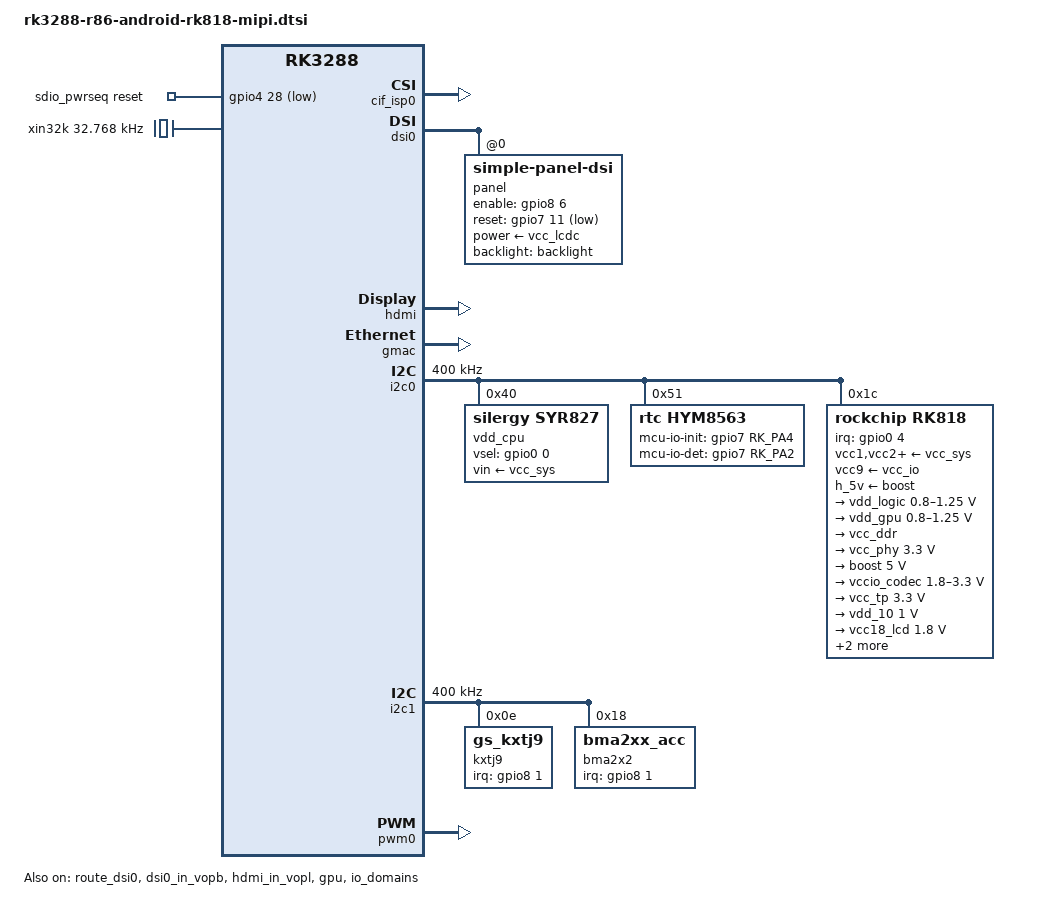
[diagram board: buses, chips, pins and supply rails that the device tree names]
/*
 * Copyright (c) 2018 Fuzhou Rockchip Electronics Co., Ltd
 *
 * SPDX-License-Identifier: (GPL-2.0+ OR MIT)
 */

/dts-v1/;
#include "rk3288-evb-r86.dtsi"
#include "rk3288-android.dtsi"
#include <dt-bindings/sensor-dev.h>

/ {
	/*panel {
		compatible = "simple-panel";
		backlight = <&backlight>;
		enable-gpios = <&gpio7 RK_PA4 GPIO_ACTIVE_HIGH>;
		prepare-delay-ms = <120>;

		display-timings {
			native-mode = <&timing0>;

			timing0: timing0 {
				clock-frequency = <200000000>;
				hactive = <1536>;
				vactive = <2048>;
				hfront-porch = <12>;
				hsync-len = <16>;
				hback-porch = <48>;
				vfront-porch = <8>;
				vsync-len = <4>;
				vback-porch = <8>;
				hsync-active = <0>;
				vsync-active = <0>;
				de-active = <0>;
				pixelclk-active = <0>;
			};
		};

		port {
			panel_in_edp: endpoint {
				remote-endpoint = <&edp_out_panel>;
			};
		};
	};*/

	sdio_pwrseq: sdio-pwrseq {
		compatible = "mmc-pwrseq-simple";
		clocks = <&rk818 1>;
		clock-names = "ext_clock";
		pinctrl-names = "default";
		pinctrl-0 = <&wifi_enable_h>;

		/*
		 * On the module itself this is one of these (depending
		 * on the actual card populated):
		 * - SDIO_RESET_L_WL_REG_ON
		 * - PDN (power down when low)
		 */
		reset-gpios = <&gpio4 28 GPIO_ACTIVE_LOW>;
	};

	test-power {
		status = "okay";
	};

	wireless-bluetooth {
		clocks = <&rk818 1>;
		clock-names = "ext_clock";
	};

	/delete-node/ sdmmc-regulator;

	/*vdd_log: vdd-logic {
		compatible = "pwm-regulator";
		rockchip,pwm_id = <1>;
		rockchip,pwm_voltage = <1100000>;
		pwms = <&pwm1 0 25000 1>;
		regulator-name = "vcc_log";
		regulator-min-microvolt = <860000>;
		regulator-max-microvolt = <1360000>;
		regulator-always-on;
		regulator-boot-on;
	};*/

	xin32k: xin32k {
		compatible = "fixed-clock";
		clock-frequency = <32768>;
		clock-output-names = "xin32k";
		#clock-cells = <0>;
	};
	
	/*vcc_lcd: vcc-lcd-regulator {
		compatible = "regulator-fixed";
		regulator-boot-on;
		//regulator-always-on;//rocky
		enable-active-high;
		gpio = <&gpio7 3 GPIO_ACTIVE_HIGH>;
		pinctrl-names = "default";
		pinctrl-0 = <&lcd_en>;
		regulator-name = "vcc_lcd";
		//vin-supply = <&vcc_io>;
	};*/
	
};

&backlight {
	pwms = <&pwm0 0 50000 0>;
	//enable-gpios = <&gpio7 9 GPIO_ACTIVE_HIGH>;
	//pinctrl-names = "default";
	//pinctrl-0 = <&bl_en>;
};

&cpu0 {
	cpu-supply = <&vdd_cpu>;
};

&cif_isp0 {
	status = "okay";
};

/*&dfi {
	status = "okay";
};

&dmc {
	center-supply = <&vdd_log>;
	status = "okay";
};*/

/*
*** TV104C9T-LH0  by rocky******
*/
&dsi0 {
	status = "okay";
	//rockchip,lane-rate = <1024>;

	panel@0 {
		compatible = "simple-panel-dsi";
		reg = <0>;
		backlight = <&backlight>;
		enable-gpios = <&gpio8 6 GPIO_ACTIVE_HIGH>;
		reset-gpios = <&gpio7 11 GPIO_ACTIVE_LOW>;
		pinctrl-names = "default";
		pinctrl-0 = <&lcd_en2>,<&lcd_rst>;
		//power-supply = <&vcc_lcd>;
		//power-supply = <&vcc_lcd_1v8>;
		power-supply = <&vcc_lcdc>;
		dsi,flags = <(MIPI_DSI_MODE_VIDEO | MIPI_DSI_MODE_VIDEO_BURST | MIPI_DSI_MODE_LPM | MIPI_DSI_MODE_EOT_PACKET)>;
		dsi,format = <MIPI_DSI_FMT_RGB888>;
		//bus-format = <MEDIA_BUS_FMT_RBG888_1X24>;
		dsi,lanes = <4>;
		reset-delay-ms = <60>;
		init-delay-ms = <60>;
		enable-delay-ms = <60>;
		prepare-delay-ms = <60>;
		unprepare-delay-ms = <60>;
		disable-delay-ms = <60>;
		status = "okay";
		
	panel-init-sequence = [
			39 00 04 B9 83 10 2E
			15 00 02 E9 CD
			15 00 02 BB 01
			15 00 02 E9 00
			39 00 05 D1 67 2C FF 05
			39 00 04 BE 11 96 89
			39 00 04 D9 3F 03 04
			39 00 12 B1 10 FA AF AF 2B 2B A2 43 57 36 36 36 36 22 21 15 00
			39 00 11 B2 00 B0 47 D0 00 2C 2C 2C 00 00 00 00 15 20 D7 00
			39 00 11 B4 80 60 01 01 80 60 68 50 01 8E 01 58 00 FF 00 FF
			39 00 04 BF FC 85 80
			39 00 03 D2 2B 2B
			39 00 2C D3 00 00 00 00 01 04 00 08 08 27 27 22 2F 23 23 04 04 32 10 21 00 21 32 10 1F 00 02 32 17 FD 00 10 00 00 20 30 01 55 21 38 01 55 0F
			39 00 2F E0 00 06 10 18 20 39 51 59 61 5F 79 7F 86 95 92 98 A0 B3 B1 57 5F 6A 70 00 06 11 19 20 39 51 59 5F 5B 73 79 7C 89 86 8C 94 A5 A3 51 59 64 76
			15 00 02 BD 01
			39 00 05 B1 01 9B 01 31
			39 00 0B CB F4 36 12 16 C0 28 6C 85 3F 04
			39 00 0C D3 01 00 FC 00 00 11 10 00 0E 00 01
			15 00 02 BD 02
			39 00 07 B4 4E 00 33 11 33 88
			39 00 04 BF F2 00 02
			15 00 02 BD 00
			39 00 0F C0 23 23 22 11 A2 17 00 80 00 00 08 00 63 63
			15 00 02 C6 F9
			15 00 02 C7 30
			39 00 07 C8 00 04 04 00 00 82
			39 00 04 D0 07 04 05
			39 00 2D D5 03 02 01 00 07 06 05 04 18 18 24 24 19 19 18 18 19 19 21 20 23 22 18 18 18 18 18 18 18 18 18 18 18 18 18 18 18 18 18 18 18 18 18 18
			39 00 2D D6 04 05 06 07 00 01 02 03 18 18 24 24 19 19 19 19 18 18 22 23 20 21 18 18 18 18 18 18 18 18 18 18 18 18 18 18 18 18 18 18 18 18 18 18
			39 00 18 E7 12 13 02 02 47 00 0F 0F 00 1E 25 73 1E 73 01 27 00 00 00 00 17 00 68
			15 00 02 BD 01
			39 00 08 E7 02 34 01 88 0E BE 0F
			15 00 02 BD 02
			39 00 1D E7 FF 01 FD 01 00 00 22 00 00 00 00 00 00 00 00 00 00 00 00 00 00 00 00 00 81 01 02 40
			15 00 02 BD 00
			15 00 02 BD 02
			39 00 0D D8 FF FF FF FF FF F0 FF FF FF FF FF F0
			15 00 02 BD 03
			15 00 02 B2 80
			15 00 02 BD 00
			15 00 02 CC 02
			39 00 03 E1 01 00
			05 64 01 11
			05 14 01 29
		];
					
	panel-exit-sequence = [
			05 64 01 28
			05 10 01 10
		];
			
	disp_timings: display-timings {
		native-mode = <&timing0>;

		timing0: timing0 {
			clock-frequency = <153600000>;//153600000//153000000
			hactive = <1200>;
			vactive = <2000>;
			
			hsync-len = <1>;//8
			hback-porch = <16>;//28
			hfront-porch = <46>;//40

			vsync-len = <1>;//1//6
			vback-porch = <45>;//38//40
			vfront-porch = <88>;//150//140
			
			hsync-active = <0>;
			vsync-active = <0>;
			de-active = <0>;
			pixelclk-active = <0>;

			};
		};	    
	};              
};  

&route_dsi0 {
	status = "okay";
    connect = <&vopb_out_dsi0>;
};       
&dsi0_in_vopl {
    status = "disabled";
};       
   
&dsi0_in_vopb {
    status = "okay";
};

&hdmi {
	status = "okay";
};

&hdmi_in_vopl {
	status = "okay";
};

&hdmi_in_vopb {
	status = "disabled";
};

&route_hdmi {
	status = "disabled";
	connect = <&vopl_out_hdmi>;
};

/*&edp {
	force-hpd;
	status = "okay";

	ports {
		port@1 {
			reg = <1>;

			edp_out_panel: endpoint {
				remote-endpoint = <&panel_in_edp>;
			};
		};
	};
};*/

&edp_in_vopb {
	status = "disabled";
};

&edp_in_vopl {
	status = "disabled";
};

&route_edp {
	connect = <&vopl_out_edp>;
	status = "disabled";
};

&gpu {
	status = "okay";
	mali-supply = <&vdd_gpu>;
};

&gmac {
	max-speed = <1000>;
	status = "okay";
};

&hdmi_analog_sound {
	status = "disabled";
};

&es8316_sound {
	status = "disabled";
};

&sound {
	status = "okay";
};

&i2c0 {
	clock-frequency = <400000>;

	vdd_cpu: syr827@40 {
		compatible = "silergy,syr827";
		reg = <0x40>;
		vin-supply = <&vcc_sys>;
		regulator-compatible = "fan53555-reg";
		pinctrl-0 = <&vsel1_gpio>;
		vsel-gpios = <&gpio0 0 GPIO_ACTIVE_HIGH>;
		regulator-name = "vdd_cpu";
		regulator-min-microvolt = <712500>;
		regulator-max-microvolt = <1500000>;
		regulator-ramp-delay = <1000>;
		fcs,suspend-voltage-selector = <1>;
		regulator-always-on;
		regulator-boot-on;
		regulator-initial-state = <3>;
		regulator-state-mem {
			regulator-off-in-suspend;
		};
	};
	
	hym8563: hym8563@51 {
		compatible = "rtc,hym8563";
		reg = <0x51>;		
		#clock-cells = <0>;
		//irq_gpio = <&gpio7 13 IRQ_TYPE_EDGE_FALLING>;
		mcu-io-init = <&gpio7 RK_PA4 GPIO_ACTIVE_HIGH>;	
		mcu-io-det = <&gpio7 RK_PA2 GPIO_ACTIVE_HIGH>;
		status = "okay";		
	};
	
	rk818: pmic@1c {
		compatible = "rockchip,rk818";
		status = "okay";
		reg = <0x1c>;
		clock-output-names = "rk818-clkout1", "wifibt_32kin";
		interrupt-parent = <&gpio0>;
		interrupts = <4 IRQ_TYPE_LEVEL_LOW>;
		pinctrl-names = "default";
		pinctrl-0 = <&pmic_int>;
		rockchip,system-power-controller;		
		wakeup-source;		
		//extcon = <&u2phy0>;
		#clock-cells = <1>;

		vcc1-supply = <&vcc_sys>;
		vcc2-supply = <&vcc_sys>;
		vcc3-supply = <&vcc_sys>;
		vcc4-supply = <&vcc_sys>;
		vcc6-supply = <&vcc_sys>;
		vcc7-supply = <&vcc_sys>;
		vcc8-supply = <&vcc_sys>;
		vcc9-supply = <&vcc_io>;
		boost-supply = <&vcc_sys>;
		h_5v-supply = <&boost>;

		regulators {
			vdd_logic: DCDC_REG1 {
				regulator-name = "vdd_logic";
				regulator-always-on;
				regulator-boot-on;
				regulator-min-microvolt = <800000>;
				regulator-max-microvolt = <1250000>;
				regulator-ramp-delay = <6001>;
				regulator-state-mem {
					regulator-on-in-suspend;
					regulator-suspend-microvolt = <1000000>;
				};
			};

			vdd_gpu: DCDC_REG2 {
				regulator-name = "vdd_gpu";
				regulator-always-on;
				regulator-boot-on;
				regulator-min-microvolt = <800000>;
				regulator-max-microvolt = <1250000>;
				regulator-ramp-delay = <6001>;
				regulator-state-mem {
					regulator-off-in-suspend;
				};
			};

			vcc_ddr: DCDC_REG3 {
				regulator-name = "vcc_ddr";
				regulator-always-on;
				regulator-boot-on;
				regulator-state-mem {
					regulator-on-in-suspend;
				};
			};

			vcc_phy:vcc_io: DCDC_REG4 {
				regulator-name = "vcc_io";
				regulator-always-on;
				regulator-boot-on;
				regulator-min-microvolt = <3300000>;
				regulator-max-microvolt = <3300000>;
				regulator-state-mem {
					regulator-on-in-suspend;
					regulator-suspend-microvolt = <3300000>;
				};
			};
			
			boost: DCDC_BOOST {
				regulator-always-on;
				regulator-boot-on;
				regulator-min-microvolt = <5000000>;
				regulator-max-microvolt = <5000000>;
				regulator-name = "boost";
				regulator-state-mem {
					regulator-on-in-suspend;
				};
			};
			
			vccio_codec: LDO_REG1 {
				regulator-always-on;
				regulator-boot-on;
				regulator-min-microvolt = <1800000>;
				regulator-max-microvolt = <3300000>;
				regulator-name = "vccio_codec";
				regulator-state-mem {
					regulator-on-in-suspend;
					regulator-suspend-microvolt = <3300000>;
				};
			};

			vcc_tp: LDO_REG2 {
				regulator-always-on;
				regulator-boot-on;
				regulator-min-microvolt = <3300000>;
				regulator-max-microvolt = <3300000>;
				regulator-name = "vcc_tp";
				regulator-state-mem {
					regulator-off-in-suspend;
				};
			};

			vdd_10: LDO_REG3 {
				regulator-always-on;
				regulator-boot-on;
				regulator-min-microvolt = <1000000>;
				regulator-max-microvolt = <1000000>;
				regulator-name = "vdd_10";
				regulator-state-mem {
					regulator-on-in-suspend;
					regulator-suspend-microvolt = <1000000>;
				};
			};

			vcc18_lcd: LDO_REG4 {
				regulator-always-on;
				regulator-boot-on;
				regulator-min-microvolt = <1800000>;
				regulator-max-microvolt = <1800000>;
				regulator-name = "vcc18_lcd";
				regulator-state-mem {
					regulator-off-in-suspend;
				};
			};

			vccio_pmu: LDO_REG5 {
				regulator-always-on;
				regulator-boot-on;
				regulator-min-microvolt = <3300000>;
				regulator-max-microvolt = <3300000>;
				regulator-name = "vccio_pmu";
				regulator-state-mem {
					regulator-on-in-suspend;
					regulator-suspend-microvolt = <3300000>;
				};
			};

			vdd10_lcd: LDO_REG6 {
				regulator-always-on;
				regulator-boot-on;
				regulator-min-microvolt = <1000000>;
				regulator-max-microvolt = <1000000>;
				regulator-name = "vdd10_lcd";
				regulator-state-mem {
					regulator-off-in-suspend;
				};
			};

			vcc_18: LDO_REG7 {
				regulator-always-on;
				regulator-boot-on;
				regulator-min-microvolt = <1800000>;
				regulator-max-microvolt = <1800000>;
				regulator-name = "vcc_18";
				regulator-state-mem {
					regulator-on-in-suspend;
					regulator-suspend-microvolt = <1800000>;
				};
			};

			vcc_lcdc: LDO_REG8 {
				/*regulator-always-on;
				regulator-boot-on;*/
				regulator-min-microvolt = <3300000>;
				regulator-max-microvolt = <3300000>;
				regulator-name = "vcc_lcdc";
				regulator-state-mem {
					//regulator-on-in-suspend;
					//regulator-suspend-microvolt = <3300000>;
					regulator-off-in-suspend;
				};
			};

			vccio_sd: LDO_REG9 {
				regulator-always-on;
				regulator-boot-on;
				regulator-min-microvolt = <1800000>;
				regulator-max-microvolt = <3300000>;
				regulator-name = "vccio_sd";
				regulator-state-mem {
					regulator-on-in-suspend;
					regulator-suspend-microvolt = <3300000>;
				};
			};

			/*vcc_emp: SWITCH_REG {
				regulator-always-on;
				regulator-boot-on;
				regulator-name = "vcc_emp";
				regulator-state-mem {
					regulator-on-in-suspend;
				};
			};*/
			
			vcc_sd: SWITCH_REG {
				//regulator-always-on;
				//regulator-boot-on;
				regulator-min-microvolt = <3300000>;
				regulator-max-microvolt = <3300000>;
				regulator-name = "vcc_sd";
				regulator-state-mem {
					regulator-off-in-suspend;
				};
			};

			h_5v: HDMI_SWITCH {
				regulator-always-on;
				regulator-boot-on;
				regulator-name = "h_5v";
				regulator-state-mem {
					regulator-on-in-suspend;
				};
			};
		};
	};

};

&i2c1 {
	status = "okay";
	clock-frequency = <400000>;

	mpu6050_acc: mpu-acc@68 {
		status = "disabled";
		compatible = "mpu6500_acc";
		pinctrl-names = "default";
		pinctrl-0 = <&mpu6050_irq_gpio>;
		reg = <0x68>;
		irq-gpio = <&gpio8 0 IRQ_TYPE_EDGE_RISING>;
		irq_enable = <0>;
		poll_delay_ms = <30>;
		type = <SENSOR_TYPE_ACCEL>;
		layout = <8>;
	};

	mpu6050_gyro: mpu-gyro@68 {
		status = "disabled";
		compatible = "mpu6500_gyro";
		reg = <0x68>;
		irq_enable = <0>;
		poll_delay_ms = <30>;
		type = <SENSOR_TYPE_GYROSCOPE>;
		layout = <8>;
	};

	ak8963_compass: ak8963-compass@0d {
		status = "disabled";
		compatible = "ak8963";
		pinctrl-names = "default";
		pinctrl-0 = <&ak8963_irq_gpio>;
		reg = <0x0d>;
		type = <SENSOR_TYPE_COMPASS>;
		irq-gpio = <&gpio8 1 IRQ_TYPE_EDGE_RISING>;
		irq_enable = <0>;
		poll_delay_ms = <30>;
		layout = <1>;
	};
	
	kxtj9: kxtj9@0e {
        status = "okay";
        compatible = "gs_kxtj9";
        // pinctrl-names = "default";
        // pinctrl-0 = <&kxtj2_irq_gpio>;
        reg = <0x0e>;
        irq-gpio = <&gpio8 1 IRQ_TYPE_LEVEL_LOW>;
        type = <SENSOR_TYPE_ACCEL>;
        irq_enable = <0>;
        poll_delay_ms = <20>;
        // power-off-in-suspend = <1>;
        layout = <5>;
    };
	
	bma2x2: bma250@18 {
		status = "okay";
		compatible = "bma2xx_acc";
		reg = <0x18>;
		type = <SENSOR_TYPE_ACCEL>;
		irq-gpio = <&gpio8 1 IRQ_TYPE_LEVEL_LOW>;              /* GSENSOR_INT = GPIO8_A1 */
		irq_enable = <0>;
		poll_delay_ms = <30>;
		layout = <5>;  
    };

};

&io_domains {
	status = "okay";
	audio-supply = <&vccio_codec>;//vcc_io//vccio_codec
	bb-supply = <&vcc_io>;
	dvp-supply = <&vcc_18>;//vcc_io//ldo output
	flash0-supply = <&vcc_18>;//ldo output
	flash1-supply = <&vcc_io>;
	gpio30-supply = <&vcc_io>;
	gpio1830 = <&vcc_io>;
	lcdc-supply = <&vcc_io>;//vcc18_lcd//vcc_io
	sdcard-supply = <&vccio_sd>;
	wifi-supply = <&vcc_18>;
};

&rockchip_suspend {
	status = "okay";
	rockchip,pwm-regulator-config = <
	(0
	| PWM1_REGULATOR_EN
	)
	>;
};

&pwm0 {
	status = "okay";
};

&pwm1 {
	status = "disabled";
	pinctrl-names = "active";
	pinctrl-0 = <&pwm1_pin_pull_down>;
};

&pinctrl {
	mpu6050 {
		mpu6050_irq_gpio: mpu6050-irq-gpio {
			rockchip,pins = <8 RK_PA0 RK_FUNC_GPIO &pcfg_pull_none>;
		};
	};

	ak8963 {
		ak8963_irq_gpio: ak8963-irq-gpio {
			rockchip,pins = <8 RK_PA1 RK_FUNC_GPIO &pcfg_pull_none>;
		};
	};
	
	pmic {
		pmic_int: pmic-int {
			rockchip,pins = <0 4 RK_FUNC_GPIO &pcfg_pull_up>;
		};
		vsel1_gpio: vsel1-gpio {
			rockchip,pins = <0 0 RK_FUNC_GPIO &pcfg_pull_down>;
		};
	};
	
	lcd {
		lcd_en: lcd-en  {
			rockchip,pins = <7 3 RK_FUNC_GPIO &pcfg_pull_none>;
		};
		lcd_en2: lcd-en2  {
			rockchip,pins = <8 6 RK_FUNC_GPIO &pcfg_pull_none>;
		};
		lcd_rst: lcd-rst  {
			rockchip,pins = <7 11 RK_FUNC_GPIO &pcfg_pull_none>;
		};
	};
	
	backlight {
		bl_en: bl-en {
			rockchip,pins = <7 9 RK_FUNC_GPIO &pcfg_pull_none>;
		};
	};
};
